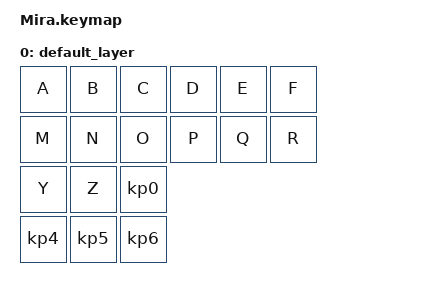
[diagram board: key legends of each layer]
#include <behaviors.dtsi>
#include <dt-bindings/zmk/keys.h>
#include <dt-bindings/zmk/bt.h>

/ {
	keymap {
		compatible = "zmk,keymap";

        default_layer {
        	bindings = <
		// |---------|---------|---------|---------|---------|---------|
		// |    A    |    B    |    C    |    D    |    E    |    F    |
			&kp A     &kp B     &kp C     &kp D     &kp E     &kp F
		// |---------|---------|---------|---------|---------|---------|
		// |    M    |    N    |    O    |    p    |    Q    |    R    |
			&kp M     &kp N     &kp O     &kp P     &kp Q     &kp R
		// |---------|---------|---------|---------|---------|---------|
		// |    Y    |    Z    |    0    |
			&kp Y     &kp Z     &kp KP_N0
		// |---------|---------|---------|
		// |    4    |    5    |    6    |
			&kp KP_N4 &kp KP_N5 &kp KP_N6
		// |---------|---------|---------|
            >;
        };
    };
};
